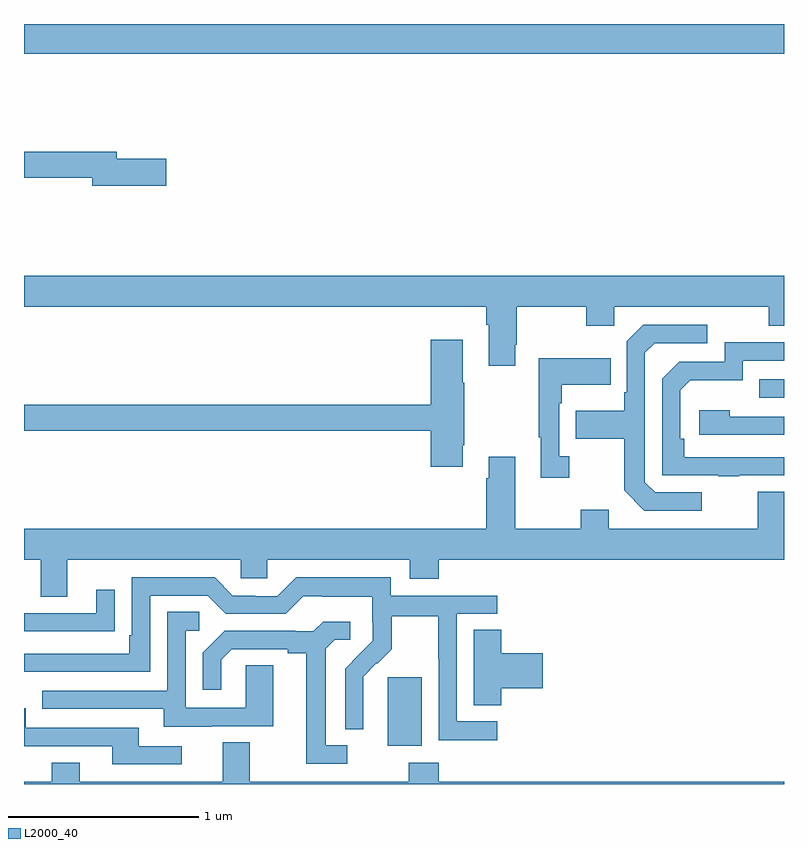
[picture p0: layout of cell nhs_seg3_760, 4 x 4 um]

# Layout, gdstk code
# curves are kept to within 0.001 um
import gdstk
lib = gdstk.Library(unit=1e-6, precision=1e-09)
def R(c, l, rs):  # rectangles x0, y0, x1, y1
    for r in rs: c.add(gdstk.rectangle(r[:2], r[2:], *l))
def P(c, l, *ps):  # polygons
    for p in ps: c.add(gdstk.Polygon(p, *l))
L2000_40 = (2000, 40)

nhs_seg3_760 = lib.new_cell('nhs_seg3_760')
R(nhs_seg3_760, L2000_40, [(150.914,702.602,151.093,702.963), (152.869,704.433,153,704.529), (149,706.244,153,706.4)])
P(nhs_seg3_760, L2000_40, [(149.749,705.692),(149.488,705.692),(149.488,705.728),(149,705.728),(149,705.592),(149.36,705.592),(149.36,705.55),(149.749,705.55)],
  [(151.585,704.713),(151.593,704.713),(151.593,704.912),(151.96,704.912),(151.96,704.813),(152.106,704.813),(152.106,704.912),(152.92,704.912),(152.92,704.813),(153,704.813),(153,705.076),(149,705.076),(149,704.912),(151.433,704.912),(151.433,704.816),(151.445,704.816),(151.445,704.601),(151.585,704.601)],
  [(152.566,703.935),(152.322,703.935),(152.268,703.989),(152.268,704.67),(152.319,704.721),(152.596,704.721),(152.596,704.817),(152.259,704.817),(152.172,704.73),(152.172,704.461),(152.16,704.461),(152.16,704.365),(151.903,704.365),(151.903,704.218),(152.16,704.218),(152.16,703.945),(152.265,703.839),(152.566,703.839)],
  [(151.309,704.182),(151.317,704.182),(151.317,704.513),(151.309,704.513),(151.309,704.737),(151.142,704.737),(151.142,704.396),(149,704.396),(149,704.26),(151.142,704.26),(151.142,704.07),(151.309,704.07)],
  [(152.765,704.025),(153,704.025),(153,704.121),(152.474,704.121),(152.474,704.218),(152.454,704.218),(152.454,704.472),(152.507,704.525),(152.784,704.525),(152.784,704.628),(153,704.628),(153,704.724),(152.688,704.724),(152.688,704.622),(152.448,704.622),(152.358,704.532),(152.358,704.025),(152.653,704.025),(152.653,704.02),(152.765,704.02)],
  [(151.87,704.126),(151.818,704.126),(151.818,704.405),(151.831,704.405),(151.831,704.501),(152.087,704.501),(152.087,704.641),(151.71,704.641),(151.71,704.225),(151.721,704.225),(151.721,704.013),(151.87,704.013)],
  [(153,704.334),(152.714,704.334),(152.714,704.368),(152.553,704.368),(152.553,704.238),(153,704.238)],
  [(149.227,703.58),(150.141,703.58),(150.141,703.482),(150.279,703.482),(150.279,703.58),(151.031,703.58),(151.031,703.481),(151.184,703.481),(151.184,703.58),(153,703.58),(153,703.939),(152.861,703.939),(152.861,703.744),(152.077,703.744),(152.077,703.843),(151.93,703.843),(151.93,703.744),(151.585,703.744),(151.585,704.122),(151.445,704.122),(151.445,704.009),(151.433,704.009),(151.433,703.744),(149,703.744),(149,703.58),(149.087,703.58),(149.087,703.386),(149.227,703.386)],
  [(151.492,702.729),(151.278,702.729),(151.278,703.296),(151.492,703.296),(151.492,703.392),(150.93,703.392),(150.93,703.489),(150.433,703.489),(150.333,703.389),(150.218,703.389),(150.218,703.392),(150.099,703.392),(150.003,703.488),(149.568,703.488),(149.568,703.183),(149.555,703.183),(149.555,703.086),(149,703.086),(149,702.99),(149.664,702.99),(149.664,703.392),(149.967,703.392),(150.063,703.296),(150.378,703.296),(150.471,703.389),(150.571,703.389),(150.571,703.385),(150.834,703.385),(150.834,703.251),(150.836,703.251),(150.836,703.154),(150.69,703.006),(150.69,702.688),(150.786,702.688),(150.785,702.965),(150.855,703.035),(150.858,703.032),(150.935,703.109),(150.935,703.284),(151.18,703.284),(151.18,703.06),(151.182,703.06),(151.182,702.631),(151.492,702.631)],
  [(149.375,703.204),(149.477,703.204),(149.477,703.423),(149.381,703.423),(149.381,703.299),(149,703.299),(149,703.203),(149.375,703.203)],
  [(149.989,702.705),(150.313,702.705),(150.313,703.025),(150.168,703.025),(150.168,702.801),(149.85,702.801),(149.85,703.206),(149.923,703.206),(149.923,703.307),(149.754,703.307),(149.754,702.891),(149.095,702.891),(149.095,702.795),(149.735,702.795),(149.735,702.701),(149.989,702.701)],
  [(150.7,702.603),(150.589,702.603),(150.589,703.111),(150.636,703.158),(150.718,703.158),(150.718,703.255),(150.574,703.255),(150.522,703.203),(150.428,703.203),(150.428,703.206),(150.056,703.206),(149.94,703.09),(149.94,702.897),(150.037,702.897),(150.037,703.053),(150.094,703.11),(150.389,703.11),(150.389,703.088),(150.485,703.088),(150.485,702.507),(150.7,702.507)],
  [(151.511,702.905),(151.729,702.905),(151.729,703.088),(151.511,703.088),(151.511,703.211),(151.367,703.211),(151.367,702.814),(151.511,702.814)],
  [(149.83,702.6),(149.605,702.6),(149.605,702.696),(149.01,702.696),(149.01,702.799),(149,702.799),(149,702.6),(149.465,702.6),(149.465,702.504),(149.83,702.504)],
  [(153,702.412),(151.184,702.412),(151.184,702.511),(151.024,702.511),(151.024,702.412),(150.187,702.412),(150.187,702.62),(150.047,702.62),(150.047,702.412),(149.293,702.412),(149.293,702.511),(149.146,702.511),(149.146,702.412),(149,702.412),(149,702.4),(153,702.4)])

lib.write_gds('nhs_seg3_760.gds')
